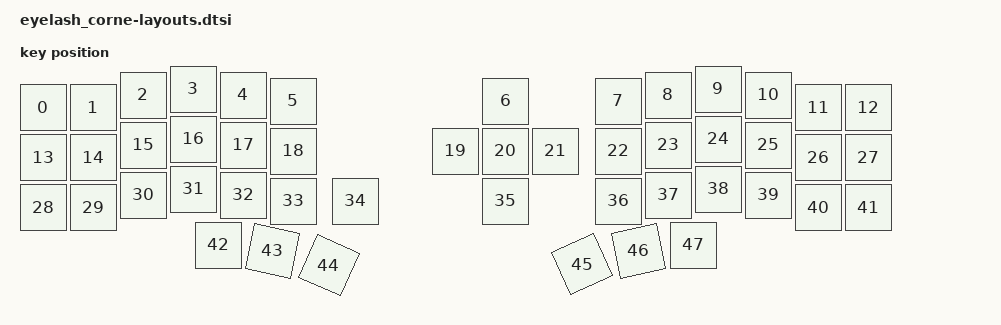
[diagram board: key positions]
/*
*
* Copyright (c) 2024 The ZMK Contributors
* SPDX-License-Identifier: MIT
*
*/

#include <physical_layouts.dtsi>

/ {
    default_layout: default_layout {
        compatible = "zmk,physical-layout";
        display-name = "Layout";

        transform = <&default_transform>;

        keys  //                     w   h    x    y     rot    rx    r
            = <&key_physical_attrs 100 100    0   37       0     0     0>
            , <&key_physical_attrs 100 100  100   37       0     0     0>
            , <&key_physical_attrs 100 100  200   12       0     0     0>
            , <&key_physical_attrs 100 100  300    0       0     0     0>
            , <&key_physical_attrs 100 100  400   12       0     0     0>
            , <&key_physical_attrs 100 100  500   24       0     0     0>
            , <&key_physical_attrs 100 100  925   24       0     0     0>
            , <&key_physical_attrs 100 100 1150   24       0     0     0>
            , <&key_physical_attrs 100 100 1250   12       0     0     0>
            , <&key_physical_attrs 100 100 1350    0       0     0     0>
            , <&key_physical_attrs 100 100 1450   12       0     0     0>
            , <&key_physical_attrs 100 100 1550   37       0     0     0>
            , <&key_physical_attrs 100 100 1650   37       0     0     0>
            , <&key_physical_attrs 100 100    0  137       0     0     0>
            , <&key_physical_attrs 100 100  100  137       0     0     0>
            , <&key_physical_attrs 100 100  200  112       0     0     0>
            , <&key_physical_attrs 100 100  300  100       0     0     0>
            , <&key_physical_attrs 100 100  400  112       0     0     0>
            , <&key_physical_attrs 100 100  500  124       0     0     0>
            , <&key_physical_attrs 100 100  825  124       0     0     0>
            , <&key_physical_attrs 100 100  925  124       0     0     0>
            , <&key_physical_attrs 100 100 1025  124       0     0     0>
            , <&key_physical_attrs 100 100 1150  124       0     0     0>
            , <&key_physical_attrs 100 100 1250  112       0     0     0>
            , <&key_physical_attrs 100 100 1350  100       0     0     0>
            , <&key_physical_attrs 100 100 1450  112       0     0     0>
            , <&key_physical_attrs 100 100 1550  137       0     0     0>
            , <&key_physical_attrs 100 100 1650  137       0     0     0>
            , <&key_physical_attrs 100 100    0  237       0     0     0>
            , <&key_physical_attrs 100 100  100  237       0     0     0>
            , <&key_physical_attrs 100 100  200  212       0     0     0>
            , <&key_physical_attrs 100 100  300  200       0     0     0>
            , <&key_physical_attrs 100 100  400  212       0     0     0>
            , <&key_physical_attrs 100 100  500  224       0     0     0>
            , <&key_physical_attrs 100 100  625  224       0     0     0>
            , <&key_physical_attrs 100 100  925  224       0     0     0>
            , <&key_physical_attrs 100 100 1150  224       0     0     0>
            , <&key_physical_attrs 100 100 1250  212       0     0     0>
            , <&key_physical_attrs 100 100 1350  200       0     0     0>
            , <&key_physical_attrs 100 100 1450  212       0     0     0>
            , <&key_physical_attrs 100 100 1550  237       0     0     0>
            , <&key_physical_attrs 100 100 1650  237       0     0     0>
            , <&key_physical_attrs 100 100  350  312       0     0     0>
            , <&key_physical_attrs 100 100  450  312    1200   450   412>
            , <&key_physical_attrs 100 100  550  312    2400   515   433>
            , <&key_physical_attrs 100 100 1100  312 (-2400)  1230   433>
            , <&key_physical_attrs 100 100 1200  312 (-1200)  1300   412>
            , <&key_physical_attrs 100 100 1300  312       0     0     0>
            ;
    };
};
